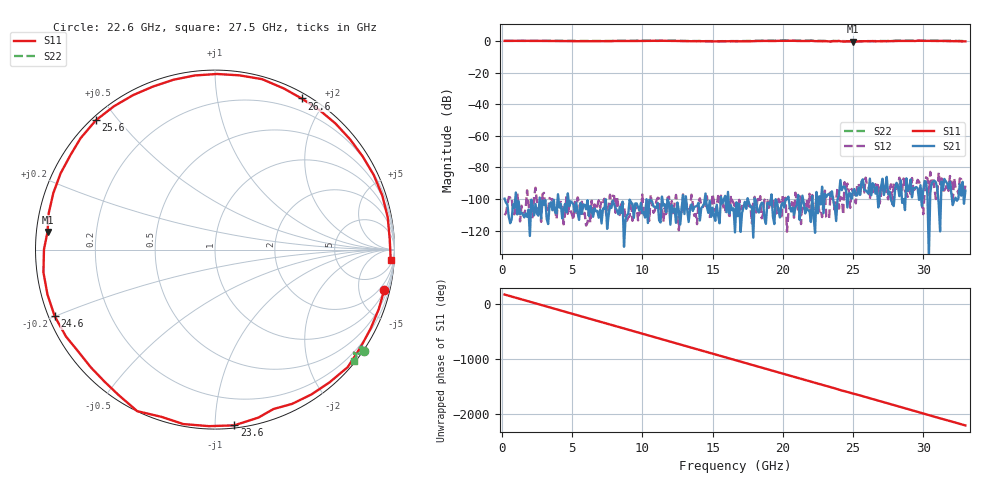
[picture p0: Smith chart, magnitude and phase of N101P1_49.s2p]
# GHZ S RI R 50
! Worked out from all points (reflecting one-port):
!   329 points, 200 MHz to 33 GHz, reference 50 ohm
!   lowest |S11| = -0.6 dB at 25 GHz (marker M1), VSWR 31.42, Z = 1.6 + j2.64 ohm
!   phase of S11 starts at 166 deg and turns -2369 deg over the sweep
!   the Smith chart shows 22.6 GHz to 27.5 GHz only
!   S11 on the Smith chart (normalised r, x): 22.6 GHz: 1.14, -8.40; 23.6 GHz: 0.02, -1.12; 24.6 GHz: 0.02, -0.20; 25.6 GHz: 0.01, +0.44; 26.6 GHz: 0.06, +1.72; 27.5 GHz: 9, -30
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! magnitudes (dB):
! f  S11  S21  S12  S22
! 200 MHz  0.0  -99.7  -110.1  0.0
! 5.7 GHz  -0.2  -109.2  -101.6  -0.1
! 11.2 GHz  0.0  -113.5  -99.6  0.1
! 16.6 GHz  -0.3  -121.0  -105.1  -0.2
! 20 GHz  0.0  -102.3  -97.3  0.3
! 22.1 GHz  0.0  -98.1  -97.4  0.1
! 22.6 GHz  -0.3  -98.2  -107.8  0.0
! 23 GHz  -0.1  -96.5  -94.6  0.0
! 23.4 GHz  -0.5  -98.3  -95.7  -0.3
! 23.6 GHz  -0.1  -101.1  -99.1  -0.1
! 24 GHz  0.0  -97.4  -106.0  0.1
! 24.4 GHz  -0.4  -92.1  -89.2  -0.2
! 24.6 GHz  -0.3  -105.3  -90.2  -0.2
! 25 GHz  -0.6  -94.7  -95.7  -0.3
! 25.6 GHz  -0.2  -89.0  -89.9  -0.3
! 26.6 GHz  -0.3  -96.5  -90.6  -0.1
! 27.5 GHz  -0.2  -96.9  -100.2  -0.1
! 27.6 GHz  -0.1  -95.1  -94.9  0.0
! 29.6 GHz  0.1  -93.1  -87.8  0.2
! 31.4 GHz  0.0  -94.2  -94.6  -0.1
! 32 GHz  -0.2  -96.4  -88.2  0.2
! 33 GHz  -0.3  -94.7  -91.5  -0.2
